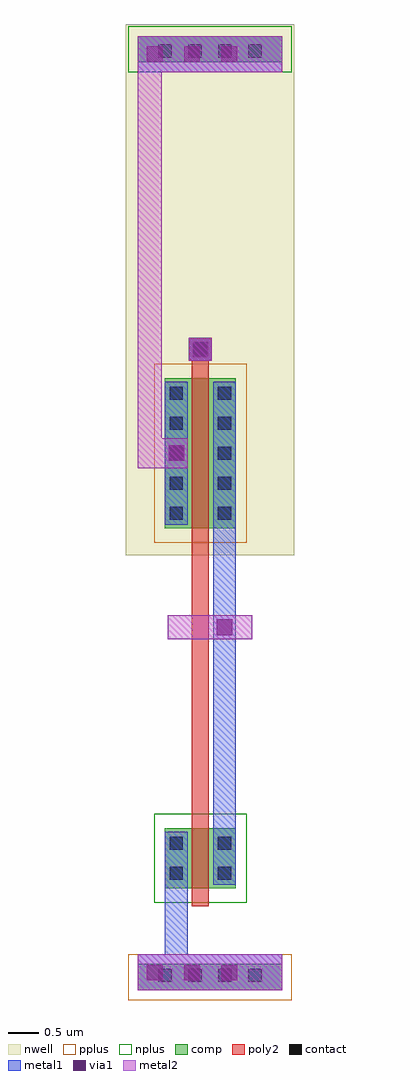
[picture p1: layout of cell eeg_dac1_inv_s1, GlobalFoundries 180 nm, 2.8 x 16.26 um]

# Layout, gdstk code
import gdstk
lib = gdstk.Library(unit=1e-6, precision=1e-09)
def R(c, l, rs):  # rectangles x0, y0, x1, y1
    for r in rs: c.add(gdstk.rectangle(r[:2], r[2:], *l))
def A(c, l, x, y, w, h, nx, ny, dx, dy):  # array of equal rectangles
    R(c, l, [(x+i*dx, y+j*dy, x+i*dx+w, y+j*dy+h) for i in range(nx) for j in range(ny)])
nwell = (21, 0)
comp = (22, 0)
poly2 = (30, 0)
pplus = (31, 0)
nplus = (32, 0)
contact = (33, 0)
metal1 = (34, 0)
via1 = (35, 0)
metal2 = (36, 0)

eeg_dac1_inv_s1 = lib.new_cell('eeg_dac1_inv_s1')
R(eeg_dac1_inv_s1, nwell, [(-0.2,7.25,2.6,16.1)])
R(eeg_dac1_inv_s1, comp, [(0,0,2.4,0.44), (0.45,1.7,1.63,2.7), (0.45,7.7,1.63,10.2), (0,15.46,2.4,15.9)])
R(eeg_dac1_inv_s1, poly2, [(0.9,1.4,1.18,7.7), (0.9,7.4,1.18,10.86), (0.86,10.5,1.22,10.86)])
R(eeg_dac1_inv_s1, pplus, [(-0.16,-0.16,2.56,0.6), (0.27,7.46,1.81,10.44)])
R(eeg_dac1_inv_s1, nplus, [(0.27,1.46,1.81,2.94), (-0.16,15.3,2.56,16.06)])
A(eeg_dac1_inv_s1, contact, 0.34, 0.14, 0.22, 0.22, 4, 2, 0.5, 15.4)
A(eeg_dac1_inv_s1, contact, 0.53, 7.84, 0.22, 0.22, 1, 5, 0, 0.5)
A(eeg_dac1_inv_s1, contact, 1.33, 7.84, 0.22, 0.22, 1, 5, 0, 0.5)
R(eeg_dac1_inv_s1, contact, [(0.53,1.84,0.75,2.06), (1.33,1.84,1.55,2.06), (0.53,2.34,0.75,2.56), (1.33,2.34,1.55,2.56), (0.93,10.57,1.15,10.79)])
R(eeg_dac1_inv_s1, metal1, [(0,0,2.4,0.6), (0,0,2.4,0.44), (0.45,0.3,0.83,2.64), (1.25,1.76,1.63,6.25), (1.25,5.85,1.63,10.14), (0.45,7.76,0.83,10.14), (0.85,10.49,1.23,10.87), (0,15.3,2.4,15.9), (0,15.46,2.4,15.9)])
A(eeg_dac1_inv_s1, via1, 0.15, 0.17, 0.26, 0.26, 3, 2, 0.62, 15.3)
R(eeg_dac1_inv_s1, via1, [(1.31,5.92,1.57,6.18), (1.31,5.92,1.57,6.18), (0.51,8.82,0.77,9.08), (0.91,10.55,1.17,10.81)])
R(eeg_dac1_inv_s1, metal2, [(0,0,2.4,0.6), (0.5,5.85,1.9,6.25), (0,8.7,0.83,9.2), (0,8.7,0.4,15.3), (0.85,10.49,1.23,10.87), (0,15.3,2.4,15.9)])

lib.write_gds('eeg_dac1_inv_s1.gds')
